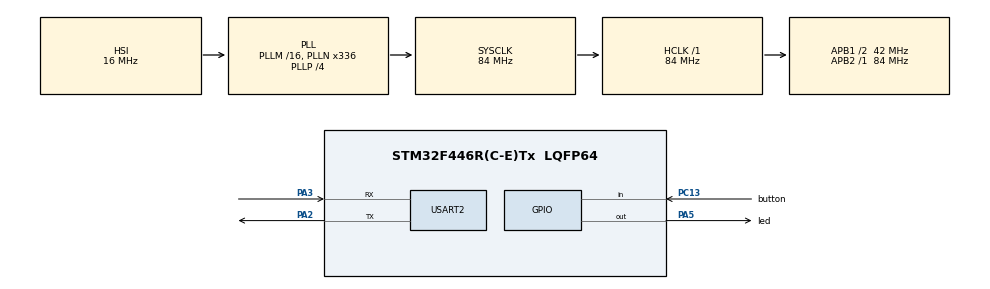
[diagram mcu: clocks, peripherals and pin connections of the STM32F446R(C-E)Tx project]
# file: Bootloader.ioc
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Mcu.Family=STM32F4
Mcu.Name=STM32F446R(C-E)Tx
Mcu.Package=LQFP64
NVIC.PriorityGroup=NVIC_PRIORITYGROUP_0
NVIC.USART2_IRQn=true\:0\:0\:false\:false\:true\:true\:true\:true
PA13.Mode=Serial_Wire
PA13.Signal=SYS_JTMS-SWDIO
PA14.Mode=Serial_Wire
PA14.Signal=SYS_JTCK-SWCLK
PA2.Mode=Asynchronous
PA2.Signal=USART2_TX
PA3.Mode=Asynchronous
PA3.Signal=USART2_RX
PA5.GPIO_Label=led
PA5.GPIO_Speed=GPIO_SPEED_FREQ_HIGH
PA5.Signal=GPIO_Output
PC13.GPIO_Label=button
PC13.GPIO_PuPd=GPIO_PULLUP
PC13.Signal=GPIO_Input
ProjectManager.HeapSize=0x200
ProjectManager.StackSize=0x400
ProjectManager.TargetToolchain=STM32CubeIDE
RCC.48MHZClocksFreq_Value=84000000
RCC.AHBFreq_Value=84000000
RCC.APB1CLKDivider=RCC_HCLK_DIV2
RCC.APB1Freq_Value=42000000
RCC.APB1TimFreq_Value=84000000
RCC.APB2Freq_Value=84000000
RCC.APB2TimFreq_Value=84000000
RCC.CortexFreq_Value=84000000
RCC.FLatency-AdvancedSettings=FLASH_LATENCY_2
RCC.HCLKFreq_Value=84000000
RCC.HSE_VALUE=8000000
RCC.HSI_VALUE=16000000
RCC.PLLN=336
RCC.PLLP=RCC_PLLP_DIV4
RCC.SYSCLKFreq_VALUE=84000000
RCC.SYSCLKSource=RCC_SYSCLKSOURCE_PLLCLK
RCC.USBFreq_Value=168000000
RCC.VCOOutputFreq_Value=336000000
USART2.VirtualMode=VM_ASYNC
board=NUCLEO-F446RE

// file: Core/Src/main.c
/* USER CODE BEGIN Header */
/**
 ******************************************************************************
 * @file           : main.c
 * @brief          : Main program body
 ******************************************************************************
 * @attention
 *
 * Copyright (c) 2026 STMicroelectronics.
 * All rights reserved.
 *
 * This software is licensed under terms that can be found in the LICENSE file
 * in the root directory of this software component.
 * If no LICENSE file comes with this software, it is provided AS-IS.
 *
 ******************************************************************************
 */
/* USER CODE END Header */
#include "main.h"

/* USER CODE BEGIN Includes */
#include "string.h"
#include "stdio.h"
#include "bootloader.h"
/* USER CODE END Includes */

/* USER CODE BEGIN PTD */
typedef enum {
	BOOTLOADER_PARSER_WAIT_HEADER = 0,
	BOOTLOADER_PARSER_WAIT_LENGTH,
	BOOTLOADER_PARSER_WAIT_FRAME
} BootloaderParserState_t;
/* USER CODE END PTD */

/* USER CODE BEGIN PD */
#define APP_START_ADDRESS 				0x08008000UL
#define APP_STACK_POINTER				*(__IO uint32_t*) APP_START_ADDRESS
#define APP_RESET_HANDLER				*(__IO uint32_t*) (APP_START_ADDRESS+4)

/* USER CODE END PD */

UART_HandleTypeDef huart2;

/* USER CODE BEGIN PV */

char message[] = "Going to Application...\r\n";
uint8_t rxChar = 0U;
uint8_t messageBuffer[BOOTLOADER_RX_BUFFER_SIZE] = { 0 };

volatile uint16_t bufferIndex = 0U;
volatile uint16_t expectedPacketLength = 0U;

volatile uint8_t commandReady = 0U;
volatile uint8_t parserErrorReady = 0U;

volatile uint32_t lastReceivedByteTick = 0U;

volatile BootloaderParserState_t parserState = BOOTLOADER_PARSER_WAIT_HEADER;

uint8_t counterTest = 0U;

/* USER CODE END PV */

void SystemClock_Config(void);
static void MX_GPIO_Init(void);
static void MX_USART2_UART_Init(void);
/* USER CODE BEGIN PFP */
int _write(int file, char *ptr, int len);
static void BootloaderParser_Reset(void);
static HAL_StatusTypeDef BootloaderUart_StartReception(void);
static void BootloaderParser_CheckTimeout(void);
void uartSend(const char *message);
/* USER CODE END PFP */

/* USER CODE BEGIN 0 */

int _write(int file, char *ptr, int len) {
	int i = 0;
	for (i = 0; i < len; i++) {
		ITM_SendChar((*ptr++));
	}
	return len;
}

static void BootloaderParser_Reset(void) {
	bufferIndex = 0U;
	expectedPacketLength = 0U;

	parserState = BOOTLOADER_PARSER_WAIT_HEADER;
}

static HAL_StatusTypeDef BootloaderUart_StartReception(void) {
	return HAL_UART_Receive_IT(UART_PORT, &rxChar, 1U);
}

static void BootloaderParser_CheckTimeout(void) {
	/*
	 * No timeout check is required while waiting for a new header
	 * or while a complete command is waiting to be processed.
	 */
	if ((parserState == BOOTLOADER_PARSER_WAIT_HEADER)
			|| (commandReady != 0U)) {
		return;
	}

	uint32_t elapsedTime = HAL_GetTick() - lastReceivedByteTick;

	if (elapsedTime <= BOOTLOADER_FRAME_TIMEOUT_MS) {
		return;
	}

#ifdef DEBUG_PRINT
	printf("UART command frame timeout. "
			"Received bytes: %u, Expected bytes: %u\r\n",
			(unsigned int) bufferIndex, (unsigned int) expectedPacketLength);
#endif

	/*
	 * Abort the incomplete interrupt-based reception before
	 * starting a new command frame.
	 */
	(void) HAL_UART_AbortReceive(UART_PORT);

	BootloaderParser_Reset();

	parserErrorReady = 1U;

	(void) BootloaderUart_StartReception();
}

void uartSend(const char *message) {

	if (message == NULL) {
		return;
	}

	HAL_UART_Transmit(UART_PORT, (const uint8_t*) message, strlen(message),
	HAL_MAX_DELAY);
}

/* USER CODE END 0 */

int main(void) {

	/* MCU Configuration--------------------------------------------------------*/

	/* Reset of all peripherals, Initializes the Flash interface and the Systick. */
	HAL_Init();

	/* Configure the system clock */
	SystemClock_Config();

	/* Initialize all configured peripherals */
	MX_GPIO_Init();
	MX_USART2_UART_Init();
	/* USER CODE BEGIN 2 */
	BootloaderParser_Reset();

	if (BootloaderUart_StartReception() != HAL_OK) {
		Error_Handler();
	}
	/* USER CODE END 2 */

	/* Infinite loop */
	while (1) {

		/* USER CODE BEGIN 3 */
		if (HAL_GPIO_ReadPin(button_GPIO_Port, button_Pin) == GPIO_PIN_RESET) {

			HAL_Delay(20U);

			if (HAL_GPIO_ReadPin(button_GPIO_Port, button_Pin)
					== GPIO_PIN_RESET) {
				uint32_t initialStackPointer = 0U;
				uint32_t resetHandlerAddress = 0U;

				if (validateApplicationVectorTable(APPLICATION_START_ADDRESS,
						&initialStackPointer, &resetHandlerAddress)) {
					uartSend(message);

#ifdef DEBUG_PRINT
					printf("Going to Application...\r\n");
#endif

					(void) JumpToApplication(APPLICATION_START_ADDRESS);
				} else {
					uartSend("No valid application image was found.\r\n");

#ifdef DEBUG_PRINT
					printf("Application jump rejected: "
							"invalid vector table.\r\n");
#endif
				}

				/*
				 * Wait for the button to be released so that an invalid
				 * application does not cause repeated messages.
				 */
				while (HAL_GPIO_ReadPin(button_GPIO_Port, button_Pin)
						== GPIO_PIN_RESET) {
					HAL_Delay(10U);
				}
			}
		}
		BootloaderParser_CheckTimeout();

		if (parserErrorReady != 0U) {
			uint8_t response = NACK;

			parserErrorReady = 0U;

			HAL_UART_Transmit(UART_PORT, &response, 1U, 1000U);
		}

		if (commandReady != 0U) {
			/*
			 * Reception is not rearmed after a complete packet, so the
			 * packet length and buffer remain stable during processing.
			 */
			uint16_t packetLength = bufferIndex;

			commandReady = 0U;

			processBootloaderCommand(packetLength);

			/*
			 * A successful Go command or option-byte operation may not
			 * return from processBootloaderCommand().
			 */
			BootloaderParser_Reset();

			if (BootloaderUart_StartReception() != HAL_OK) {
#ifdef DEBUG_PRINT
				printf("UART command reception could not be restarted.\r\n");
#endif

				parserErrorReady = 1U;
			}
		}
	}
	/* USER CODE END 3 */
}

void SystemClock_Config(void) {
	RCC_OscInitTypeDef RCC_OscInitStruct = { 0 };
	RCC_ClkInitTypeDef RCC_ClkInitStruct = { 0 };

	/** Configure the main internal regulator output voltage
	 */
	__HAL_RCC_PWR_CLK_ENABLE();
	__HAL_PWR_VOLTAGESCALING_CONFIG(PWR_REGULATOR_VOLTAGE_SCALE3);

	/** Initializes the RCC Oscillators according to the specified parameters
	 * in the RCC_OscInitTypeDef structure.
	 */
	RCC_OscInitStruct.OscillatorType = RCC_OSCILLATORTYPE_HSI;
	RCC_OscInitStruct.HSIState = RCC_HSI_ON;
	RCC_OscInitStruct.HSICalibrationValue = RCC_HSICALIBRATION_DEFAULT;
	RCC_OscInitStruct.PLL.PLLState = RCC_PLL_ON;
	RCC_OscInitStruct.PLL.PLLSource = RCC_PLLSOURCE_HSI;
	RCC_OscInitStruct.PLL.PLLM = 16;
	RCC_OscInitStruct.PLL.PLLN = 336;
	RCC_OscInitStruct.PLL.PLLP = RCC_PLLP_DIV4;
	RCC_OscInitStruct.PLL.PLLQ = 2;
	RCC_OscInitStruct.PLL.PLLR = 2;
	if (HAL_RCC_OscConfig(&RCC_OscInitStruct) != HAL_OK) {
		Error_Handler();
	}

	/** Initializes the CPU, AHB and APB buses clocks
	 */
	RCC_ClkInitStruct.ClockType = RCC_CLOCKTYPE_HCLK | RCC_CLOCKTYPE_SYSCLK
			| RCC_CLOCKTYPE_PCLK1 | RCC_CLOCKTYPE_PCLK2;
	RCC_ClkInitStruct.SYSCLKSource = RCC_SYSCLKSOURCE_PLLCLK;
	RCC_ClkInitStruct.AHBCLKDivider = RCC_SYSCLK_DIV1;
	RCC_ClkInitStruct.APB1CLKDivider = RCC_HCLK_DIV2;
	RCC_ClkInitStruct.APB2CLKDivider = RCC_HCLK_DIV1;

	if (HAL_RCC_ClockConfig(&RCC_ClkInitStruct, FLASH_LATENCY_2) != HAL_OK) {
		Error_Handler();
	}
}

static void MX_USART2_UART_Init(void) {

	huart2.Instance = USART2;
	huart2.Init.BaudRate = 115200;
	huart2.Init.WordLength = UART_WORDLENGTH_8B;
	huart2.Init.StopBits = UART_STOPBITS_1;
	huart2.Init.Parity = UART_PARITY_NONE;
	huart2.Init.Mode = UART_MODE_TX_RX;
	huart2.Init.HwFlowCtl = UART_HWCONTROL_NONE;
	huart2.Init.OverSampling = UART_OVERSAMPLING_16;
	if (HAL_UART_Init(&huart2) != HAL_OK) {
		Error_Handler();
	}

}

static void MX_GPIO_Init(void) {
	GPIO_InitTypeDef GPIO_InitStruct = { 0 };

	/* GPIO Ports Clock Enable */
	__HAL_RCC_GPIOC_CLK_ENABLE();
	__HAL_RCC_GPIOA_CLK_ENABLE();

	/*Configure GPIO pin Output Level */
	HAL_GPIO_WritePin(led_GPIO_Port, led_Pin, GPIO_PIN_RESET);

	/*Configure GPIO pin : button_Pin */
	GPIO_InitStruct.Pin = button_Pin;
	GPIO_InitStruct.Mode = GPIO_MODE_INPUT;
	GPIO_InitStruct.Pull = GPIO_PULLUP;
	HAL_GPIO_Init(button_GPIO_Port, &GPIO_InitStruct);

	/*Configure GPIO pin : led_Pin */
	GPIO_InitStruct.Pin = led_Pin;
	GPIO_InitStruct.Mode = GPIO_MODE_OUTPUT_PP;
	GPIO_InitStruct.Pull = GPIO_NOPULL;
	GPIO_InitStruct.Speed = GPIO_SPEED_FREQ_HIGH;
	HAL_GPIO_Init(led_GPIO_Port, &GPIO_InitStruct);

}

/* USER CODE BEGIN 4 */
void HAL_UART_RxCpltCallback(UART_HandleTypeDef *huart) {
	if ((huart == NULL) || (huart->Instance != USART2)) {
		return;
	}

	lastReceivedByteTick = HAL_GetTick();

	switch (parserState) {
	case BOOTLOADER_PARSER_WAIT_HEADER: {
		/*
		 * Ignore all bytes until a valid bootloader header
		 * is received.
		 */
		if (rxChar == BOOTLOADER_HEADER) {
			messageBuffer[0] = rxChar;
			bufferIndex = 1U;

			parserState = BOOTLOADER_PARSER_WAIT_LENGTH;
		}

		break;
	}

	case BOOTLOADER_PARSER_WAIT_LENGTH: {
		/*
		 * The length field contains:
		 *
		 * Command byte + payload bytes
		 */
		if ((rxChar < BOOTLOADER_MIN_COMMAND_LENGTH)
				|| (rxChar > BOOTLOADER_MAX_COMMAND_LENGTH)) {
#ifdef DEBUG_PRINT
			printf("Invalid command length received: %u\r\n", rxChar);
#endif

			parserErrorReady = 1U;

			BootloaderParser_Reset();
			break;
		}

		messageBuffer[1] = rxChar;
		bufferIndex = 2U;

		/*
		 * Complete frame:
		 *
		 * Header + Length + Command body + CRC-32
		 */
		expectedPacketLength = (uint16_t) rxChar + BOOTLOADER_FRAME_OVERHEAD;

		parserState = BOOTLOADER_PARSER_WAIT_FRAME;

		break;
	}

	case BOOTLOADER_PARSER_WAIT_FRAME: {
		if (bufferIndex >= BOOTLOADER_RX_BUFFER_SIZE) {
#ifdef DEBUG_PRINT
			printf("UART command buffer overflow rejected.\r\n");
#endif

			parserErrorReady = 1U;

			BootloaderParser_Reset();
			break;
		}

		messageBuffer[bufferIndex] = rxChar;

		bufferIndex++;

		if (bufferIndex == expectedPacketLength) {
			/*
			 * Stop rearming UART reception until the main loop
			 * has processed the complete command frame.
			 */
			commandReady = 1U;
			return;
		}

		if (bufferIndex > expectedPacketLength) {
#ifdef DEBUG_PRINT
			printf("UART command frame exceeded expected length.\r\n");
#endif

			parserErrorReady = 1U;

			BootloaderParser_Reset();
		}

		break;
	}

	default: {
		parserErrorReady = 1U;

		BootloaderParser_Reset();
		break;
	}
	}

	if (commandReady == 0U) {
		if (BootloaderUart_StartReception() != HAL_OK) {
			parserErrorReady = 1U;
		}
	}
}

void HAL_UART_ErrorCallback(UART_HandleTypeDef *huart) {
	if ((huart == NULL) || (huart->Instance != USART2)) {
		return;
	}

	uint32_t errorCode = huart->ErrorCode;

	if (errorCode == HAL_UART_ERROR_NONE) {
		return;
	}

#ifdef DEBUG_PRINT
	printf("UART receive error: 0x%08lX\r\n", errorCode);
#endif

	parserErrorReady = 1U;

	/*
	 * Abort the failed interrupt-based reception.
	 * Reception is restarted from the abort completion callback.
	 */
	if (HAL_UART_AbortReceive_IT(huart) != HAL_OK) {
		BootloaderParser_Reset();

		if (BootloaderUart_StartReception() != HAL_OK) {
#ifdef DEBUG_PRINT
			printf("UART reception could not be restarted "
					"after an error.\r\n");
#endif
		}
	}
}

void HAL_UART_AbortReceiveCpltCallback(UART_HandleTypeDef *huart) {
	if ((huart == NULL) || (huart->Instance != USART2)) {
		return;
	}

	BootloaderParser_Reset();

	(void) BootloaderUart_StartReception();
}
/* USER CODE END 4 */

void Error_Handler(void) {
	__disable_irq();
	while (1) {
	}
}
